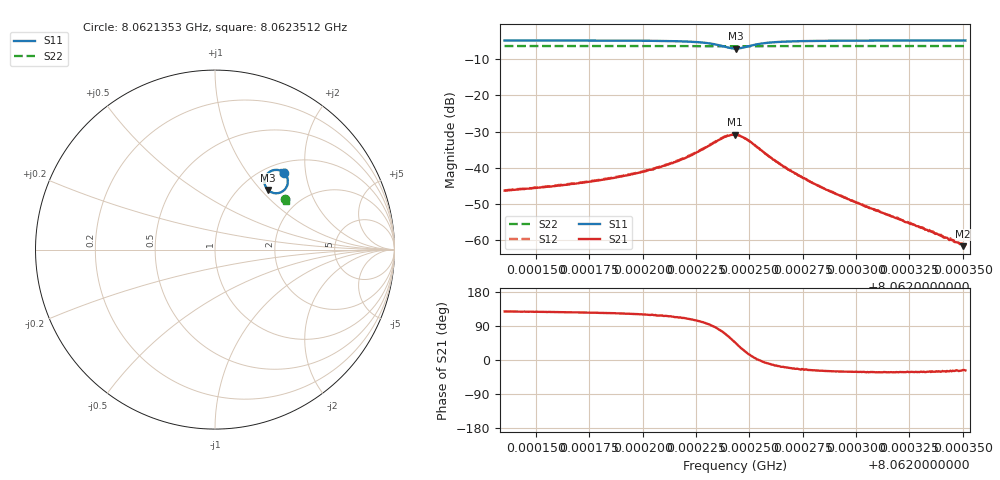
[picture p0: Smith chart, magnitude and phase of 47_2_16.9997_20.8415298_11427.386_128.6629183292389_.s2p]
#  HZ  S  RI  R  50.00
! Rohde & Schwarz Vector Network Analyzer
! Rohde-Schwarz,ZNB20-2Port,1311601062101988,3.16
! Created: UTC 3/20/2024, 10:54:08 PM
! freq[Hz]  re:S11  im:S11  re:S21  im:S21  re:S12  im:S12  re:S22  im:S22
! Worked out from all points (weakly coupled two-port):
!   401 points, 8.0621353 GHz to 8.0623512 GHz, reference 50 ohm
!   highest |S21| = -30.89 dB at 8.0622433 GHz (marker M1); lowest = -61.7 dB at 8.0623501 GHz (marker M2)
!   lowest |S11| = -7.0 dB at 8.0622438 GHz (marker M3), VSWR 2.60, Z = 66.1 + j54.7 ohm
!   |S11| at or under -10 dB: nowhere
!   |S22| runs from -6.4 to -6.3 dB; largest |S21 - S12| = 0.0025
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8.0621353e9  0.3871 0.4252  -0.00297 0.00381  -0.00273 0.00402  0.3901 0.2828
8.06215797e9  0.3907 0.4214  -0.00332 0.00447  -0.00312 0.0047  0.391 0.2815
8.06217147e9  0.3931 0.4183  -0.00359 0.00503  -0.00334 0.00531  0.3914 0.2807
8.06219306e9  0.3983 0.41  -0.00419 0.00669  -0.00388 0.00708  0.3923 0.2791
8.06220763e9  0.4027 0.3993  -0.00458 0.00896  -0.00414 0.00944  0.3926 0.2782
8.06221249e9  0.4043 0.3937  -0.00478 0.0102  -0.00415 0.0106  0.3929 0.2777
8.06222059e9  0.4059 0.3794  -0.00469 0.0131  -0.00394 0.0136  0.393 0.2768
8.06223138e9  0.3953 0.3433  -0.00126 0.0203  0.000275 0.0209  0.3922 0.2748
8.06223894e9  0.3467 0.3142  0.0101 0.0249  0.0123 0.0245  0.3897 0.2741
8.06224326e9  0.2999 0.3279  0.0197 0.0206  0.0215 0.0192  0.3885 0.2751
8.0622438e9  0.2952 0.3322  0.0206 0.0195  0.0222 0.018  0.3882 0.2755
8.06224595e9  0.2807 0.3534  0.0231 0.0143  0.0242 0.0128  0.3881 0.2764
8.06224865e9  0.2754 0.382  0.0234 0.0082  0.0239 0.00662  0.3884 0.2777
8.06225621e9  0.2998 0.4298  0.0168 -0.00133  0.0166 -0.0024  0.3904 0.2787
8.06225999e9  0.3139 0.4386  0.0135 -0.00264  0.0135 -0.00351  0.3912 0.2788
8.06226701e9  0.3329 0.4439  0.00943 -0.00331  0.0093 -0.00393  0.3923 0.2784
8.06227942e9  0.3517 0.4433  0.00552 -0.00281  0.00537 -0.00312  0.3934 0.2775
8.06229507e9  0.3636 0.4402  0.00329 -0.00195  0.00317 -0.00217  0.3945 0.2765
8.06231559e9  0.3717 0.4366  0.00185 -0.00118  0.00182 -0.00128  0.3953 0.2753
8.06233502e9  0.3763 0.4339  0.00113 -0.000695  0.00108 -0.000779  0.3961 0.2741
8.06235013e9  0.3792 0.432  0.00074 -0.000362  0.000733 -0.00041  0.3967 0.2733
8.06235121e9  0.3793 0.4321  0.000758 -0.000394  0.000709 -0.00042  0.3967 0.2731
